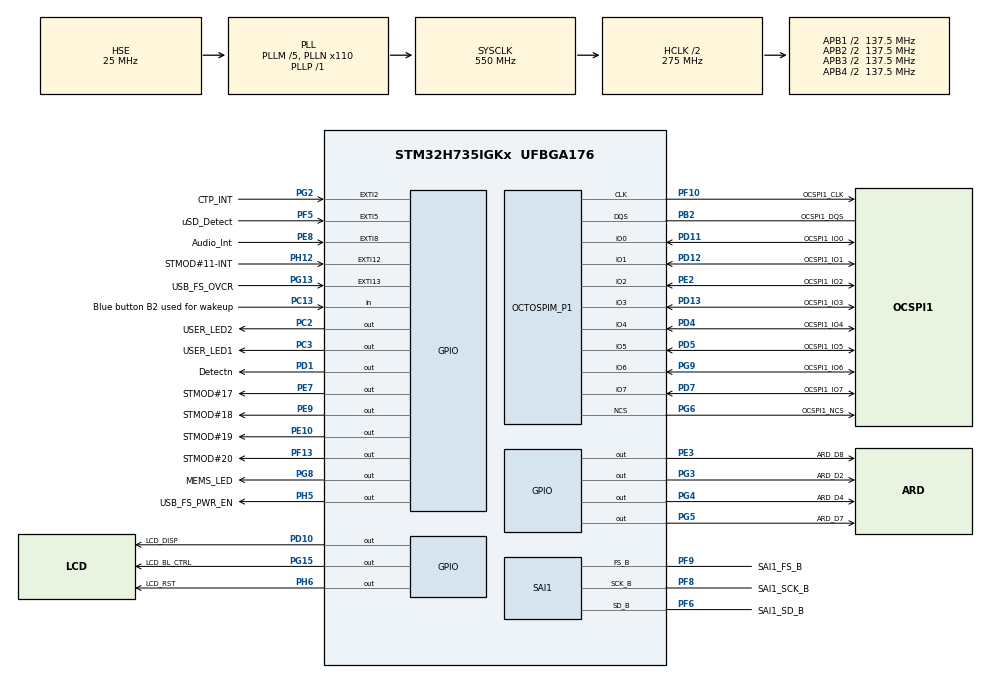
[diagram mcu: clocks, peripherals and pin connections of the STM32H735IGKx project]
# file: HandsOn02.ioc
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CORTEX_M7.AccessPermission-Cortex_Memory_Protection_Unit_Region0_Settings=MPU_REGION_FULL_ACCESS
CORTEX_M7.BaseAddress-Cortex_Memory_Protection_Unit_Region0_Settings=0x24000000
CORTEX_M7.CPU_DCache=Enabled
CORTEX_M7.CPU_ICache=Enabled
CORTEX_M7.Enable-Cortex_Memory_Protection_Unit_Region0_Settings=MPU_REGION_ENABLE
CORTEX_M7.MPU_Control=MPU_PRIVILEGED_DEFAULT
CORTEX_M7.Size-Cortex_Memory_Protection_Unit_Region0_Settings=MPU_REGION_SIZE_32KB
CORTEX_M7.TypeExtField-Cortex_Memory_Protection_Unit_Region0_Settings=MPU_TEX_LEVEL1
Mcu.Family=STM32H7
Mcu.Name=STM32H735IGKx
Mcu.Package=UFBGA176
NVIC.PriorityGroup=NVIC_PRIORITYGROUP_4
PA0.GPIO_Label=ARD_D3
PA0.Signal=S_TIM5_CH1
PA0_C.GPIO_Label=ARD_A2
PA0_C.Signal=ADCx_INP0
PA1.GPIO_Label=RMII_REF_CLK
PA1.GPIO_Speed=GPIO_SPEED_FREQ_LOW
PA1.Signal=ETH_REF_CLK
PA10.GPIO_Label=USB_FS_ID
PA10.Signal=USB_OTG_HS_ID
PA11.GPIO_Label=USB_FS_DM
PA11.Signal=USB_OTG_HS_DM
PA12.GPIO_Label=USB_FS_DP
PA12.Signal=USB_OTG_HS_DP
PA13(JTMS/SWDIO).GPIO_Label=JTMS
PA13(JTMS/SWDIO).Signal=DEBUG_JTMS-SWDIO
PA14(JTCK/SWCLK).GPIO_Label=JTCK
PA14(JTCK/SWCLK).Signal=DEBUG_JTCK-SWCLK
PA15(JTDI).GPIO_Label=JTDI
PA15(JTDI).Signal=DEBUG_JTDI
PA1_C.GPIO_Label=ARD_A3
PA1_C.Signal=ADCx_INP1
PA2.GPIO_Label=RMII_MDIO
PA2.GPIO_Speed=GPIO_SPEED_FREQ_LOW
PA2.Signal=ETH_MDIO
PA3.GPIO_Label=LCD_B5
PA3.GPIO_Speed=GPIO_SPEED_FREQ_LOW
PA3.Signal=LTDC_B5
PA4.GPIO_Label=LCD_VSYNC
PA4.GPIO_Speed=GPIO_SPEED_FREQ_LOW
PA4.Signal=LTDC_VSYNC
PA5.GPIO_Label=DAC1_OUT2
PA5.Signal=COMP_DAC12_group
PA6.GPIO_Label=LCD_G2
PA6.GPIO_Speed=GPIO_SPEED_FREQ_LOW
PA6.Signal=LTDC_G2
PA7.GPIO_Label=RMII_CRS_DV
PA7.GPIO_Speed=GPIO_SPEED_FREQ_LOW
PA7.Signal=ETH_CRS_DV
PA8.GPIO_Label=LCD_B3
PA8.GPIO_Speed=GPIO_SPEED_FREQ_LOW
PA8.Signal=LTDC_B3
PA9.GPIO_Label=USB_FS_VBUS
PA9.Signal=USB_OTG_HS_VBUS
PB0.GPIO_Label=LCD_G1
PB0.GPIO_Speed=GPIO_SPEED_FREQ_LOW
PB0.Signal=LTDC_G1
PB1.GPIO_Label=LCD_G0
PB1.GPIO_Speed=GPIO_SPEED_FREQ_LOW
PB1.Signal=LTDC_G0
PB10.GPIO_Label=RMII_RX_ER
PB10.Signal=ETH_RX_ER
PB11.GPIO_Label=RMII_TX_EN
PB11.GPIO_Speed=GPIO_SPEED_FREQ_LOW
PB11.Signal=ETH_TX_EN
PB12.GPIO_Label=RMII_TXD0
PB12.GPIO_Speed=GPIO_SPEED_FREQ_LOW
PB12.Signal=ETH_TXD0
PB13.GPIO_Label=RMII_TXD1
PB13.GPIO_Speed=GPIO_SPEED_FREQ_LOW
PB13.Signal=ETH_TXD1
PB14.GPIO_Label=ARD_D1
PB14.GPIO_PuPd=GPIO_NOPULL
PB14.Signal=USART1_TX
PB15.GPIO_Label=ARD_D0
PB15.GPIO_PuPd=GPIO_NOPULL
PB15.Signal=USART1_RX
PB2.GPIO_Label=OCSPI1_DQS
PB2.Mode=OCTOSPI1_Port1_DQS
PB2.Signal=OCTOSPIM_P1_DQS
PB3(JTDO/TRACESWO).GPIO_Label=JTDO
PB3(JTDO/TRACESWO).Signal=DEBUG_JTDO-SWO
PB4(NJTRST).GPIO_Label=NJTRST
PB4(NJTRST).Signal=DEBUG_JTRST
PB5.GPIO_Label=FDCAN2_RX
PB5.Signal=FDCAN2_RX
PB6.GPIO_Label=FDCAN2_TX
PB6.Signal=FDCAN2_TX
PB7.GPIO_Label=ARD_D9
PB7.Signal=S_TIM4_CH2
PB8.GPIO_Label=LCD_B6
PB8.GPIO_Speed=GPIO_SPEED_FREQ_LOW
PB8.Signal=LTDC_B6
PB9.GPIO_Label=LCD_B7
PB9.GPIO_Speed=GPIO_SPEED_FREQ_LOW
PB9.Signal=LTDC_B7
PC0.GPIO_Label=ARD_A0
PC0.Signal=ADCx_INP10
PC1.GPIO_Label=RMII_MDC
PC1.GPIO_Speed=GPIO_SPEED_FREQ_LOW
PC1.Signal=ETH_MDC
PC10.GPIO_Label=SDIO1_D2
PC10.Signal=SDMMC1_D2
PC11.GPIO_Label=SDIO1_D3
PC11.Signal=SDMMC1_D3
PC12.GPIO_Label=SDIO1_CK
PC12.Signal=SDMMC1_CK
PC13.GPIO_Label=Blue button B2 used for wakeup
PC13.Signal=GPIO_Input
PC2.GPIO_Label=USER_LED2
PC2.Signal=GPIO_Output
PC2_C.GPIO_Label=ARD_A4
PC2_C.Signal=ADC3_INP0
PC3.GPIO_Label=USER_LED1
PC3.Signal=GPIO_Output
PC3_C.GPIO_Label=ARD_A5
PC3_C.Signal=ADC3_INP1
PC4.GPIO_Label=RMII_RXD0
PC4.GPIO_Speed=GPIO_SPEED_FREQ_LOW
PC4.Signal=ETH_RXD0
PC5.GPIO_Label=RMII_RXD1
PC5.GPIO_Speed=GPIO_SPEED_FREQ_LOW
PC5.Signal=ETH_RXD1
PC6.GPIO_Label=LCD_HSYNC
PC6.GPIO_Speed=GPIO_SPEED_FREQ_LOW
PC6.Signal=LTDC_HSYNC
PC7.GPIO_Label=LCD_G6
PC7.GPIO_Speed=GPIO_SPEED_FREQ_LOW
PC7.Signal=LTDC_G6
PC8.GPIO_Label=SDIO1_D0
PC8.Signal=SDMMC1_D0
PC9.GPIO_Label=SDIO1_D1
PC9.Signal=SDMMC1_D1
PD0.GPIO_Label=LCD_B1
PD0.GPIO_Speed=GPIO_SPEED_FREQ_LOW
PD0.Signal=LTDC_B1
PD1.GPIO_Label=Detectn
PD1.GPIO_PuPd=GPIO_NOPULL
PD1.Signal=GPIO_Output
PD10.GPIO_Label=LCD_DISP
PD10.GPIO_Speed=GPIO_SPEED_FREQ_LOW
PD10.Signal=GPIO_Output
PD11.GPIO_Label=OCSPI1_IO0
PD11.Mode=OCTOSPI1_IOL_Port1L
PD11.Signal=OCTOSPIM_P1_IO0
PD12.GPIO_Label=OCSPI1_IO1
PD12.Mode=OCTOSPI1_IOL_Port1L
PD12.Signal=OCTOSPIM_P1_IO1
PD13.GPIO_Label=OCSPI1_IO3
PD13.Mode=OCTOSPI1_IOL_Port1L
PD13.Signal=OCTOSPIM_P1_IO3
PD14.GPIO_Label=STMOD\#14-PWM
PD14.Signal=S_TIM4_CH3
PD15.GPIO_Label=ARD_D6
PD15.Signal=S_TIM4_CH4
PD2.GPIO_Label=SDIO1_CMD
PD2.Signal=SDMMC1_CMD
PD3.GPIO_Label=LCD_G7
PD3.GPIO_Speed=GPIO_SPEED_FREQ_LOW
PD3.Signal=LTDC_G7
PD4.GPIO_Label=OCSPI1_IO4
PD4.Mode=OCTOSPI1_IOH_Port1H
PD4.Signal=OCTOSPIM_P1_IO4
PD5.GPIO_Label=OCSPI1_IO5
PD5.Mode=OCTOSPI1_IOH_Port1H
PD5.Signal=OCTOSPIM_P1_IO5
PD6.GPIO_Label=LCD_B2
PD6.GPIO_Speed=GPIO_SPEED_FREQ_LOW
PD6.Signal=LTDC_B2
PD7.GPIO_Label=OCSPI1_IO7
PD7.Mode=OCTOSPI1_IOH_Port1H
PD7.Signal=OCTOSPIM_P1_IO7
PD8.GPIO_Label=T_VCP_TX
PD8.GPIO_PuPd=GPIO_NOPULL
PD8.Signal=USART3_TX
PD9.GPIO_Label=T_VCP_RX
PD9.GPIO_PuPd=GPIO_NOPULL
PD9.Signal=USART3_RX
PE0.GPIO_Label=LCD_R0
PE0.GPIO_Speed=GPIO_SPEED_FREQ_LOW
PE0.Signal=LTDC_R0
PE1.GPIO_Label=LCD_R6
PE1.GPIO_Speed=GPIO_SPEED_FREQ_LOW
PE1.Signal=LTDC_R6
PE10.GPIO_Label=STMOD\#19
PE10.Signal=GPIO_Output
PE11.GPIO_Label=LCD_G3
PE11.GPIO_Speed=GPIO_SPEED_FREQ_LOW
PE11.Signal=LTDC_G3
PE12.GPIO_Label=LCD_B4
PE12.GPIO_Speed=GPIO_SPEED_FREQ_LOW
PE12.Signal=LTDC_B4
PE13.GPIO_Label=LCD_DE
PE13.GPIO_Speed=GPIO_SPEED_FREQ_LOW
PE13.Signal=LTDC_DE
PE14.GPIO_Label=ARD_D5
PE14.Signal=S_TIM1_CH4
PE15.GPIO_Label=LCD_R7
PE15.GPIO_Speed=GPIO_SPEED_FREQ_LOW
PE15.Signal=LTDC_R7
PE2.GPIO_Label=OCSPI1_IO2
PE2.Mode=OCTOSPI1_IOL_Port1L
PE2.Signal=OCTOSPIM_P1_IO2
PE3.GPIO_Label=ARD_D8
PE3.Signal=GPIO_Output
PE4.GPIO_Label=SAI4_D2
PE4.Signal=SAI4_D2
PE5.GPIO_Label=SAI4_CK2
PE5.Signal=SAI4_CK2
PE6.GPIO_Label=SAI1_SD_A
PE6.Signal=SAI1_SD_A
PE7.GPIO_Label=STMOD\#17
PE7.Signal=GPIO_Output
PE8.GPIO_Label=Audio_Int
PE8.Signal=GPXTI8
PE9.GPIO_Label=STMOD\#18
PE9.Signal=GPIO_Output
PF0.GPIO_Label=OCSPI2_IO0
PF0.Signal=OCTOSPIM_P2_IO0
PF1.GPIO_Label=OCSPI2_IO1
PF1.Signal=OCTOSPIM_P2_IO1
PF10.GPIO_Label=OCSPI1_CLK
PF10.Mode=O1_P1_CLK
PF10.Signal=OCTOSPIM_P1_CLK
PF11.GPIO_Label=SPI5_MOSI
PF11.Signal=SPI5_MOSI
PF12.GPIO_Label=OCSPI2_DQS
PF12.Signal=OCTOSPIM_P2_DQS
PF13.GPIO_Label=STMOD\#20
PF13.Signal=GPIO_Output
PF14.GPIO_Label=I2C4_SCL
PF14.Signal=I2C4_SCL
PF15.GPIO_Label=I2C4_SDA
PF15.Signal=I2C4_SDA
PF2.GPIO_Label=OCSPI2_IO2
PF2.Signal=OCTOSPIM_P2_IO2
PF3.GPIO_Label=OCSPI2_IO3
PF3.Signal=OCTOSPIM_P2_IO3
PF4.GPIO_Label=OCSPI2_CLK
PF4.Signal=OCTOSPIM_P2_CLK
PF5.GPIO_Label=uSD_Detect
PF5.Signal=GPXTI5
PF6.GPIO_Label=SAI1_SD_B
PF6.GPIO_Speed=GPIO_SPEED_FREQ_VERY_HIGH
PF6.Mode=SAI_B_Master
PF6.Signal=SAI1_SD_B
PF7.GPIO_Label=SAI1_MCLK_B
PF7.Signal=SAI1_MCLK_B
PF8.GPIO_Label=SAI1_SCK_B
PF8.GPIO_Speed=GPIO_SPEED_FREQ_VERY_HIGH
PF8.Mode=SAI_B_Master
PF8.Signal=SAI1_SCK_B
PF9.GPIO_Label=SAI1_FS_B
PF9.GPIO_Speed=GPIO_SPEED_FREQ_VERY_HIGH
PF9.Mode=SAI_B_Master
PF9.Signal=SAI1_FS_B
PG0.GPIO_Label=OCSPI2_IO4
PG0.Signal=OCTOSPIM_P2_IO4
PG1.GPIO_Label=OCSPI2_IO5
PG1.Signal=OCTOSPIM_P2_IO5
PG10.GPIO_Label=OCSPI2_IO6
PG10.Signal=OCTOSPIM_P2_IO6
PG11.GPIO_Label=OCSPI2_IO7
PG11.Signal=OCTOSPIM_P2_IO7
PG12.GPIO_Label=OCSPI2_NCS
PG12.Signal=OCTOSPIM_P2_NCS
PG13.GPIO_Label=USB_FS_OVCR
PG13.Signal=GPXTI13
PG14.GPIO_Label=LCD_B0
PG14.GPIO_Speed=GPIO_SPEED_FREQ_LOW
PG14.Signal=LTDC_B0
PG15.GPIO_Label=LCD_BL_CTRL
PG15.GPIO_Speed=GPIO_SPEED_FREQ_LOW
PG15.Signal=GPIO_Output
PG2.GPIO_Label=CTP_INT
PG2.Signal=GPXTI2
PG3.GPIO_Label=ARD_D2
PG3.Signal=GPIO_Output
PG4.GPIO_Label=ARD_D4
PG4.Signal=GPIO_Output
PG5.GPIO_Label=ARD_D7
PG5.Signal=GPIO_Output
PG6.GPIO_Label=OCSPI1_NCS
PG6.Mode=OCTOSPI1_Port1_NCS
PG6.Signal=OCTOSPIM_P1_NCS
PG7.GPIO_Label=LCD_CLK
PG7.GPIO_Speed=GPIO_SPEED_FREQ_LOW
PG7.Signal=LTDC_CLK
PG8.GPIO_Label=MEMS_LED
PG8.Signal=GPIO_Output
PG9.GPIO_Label=OCSPI1_IO6
PG9.Mode=OCTOSPI1_IOH_Port1H
PG9.Signal=OCTOSPIM_P1_IO6
PH0-OSC_IN.Mode=HSE-External-Clock-Source
PH0-OSC_IN.Signal=RCC_OSC_IN
PH10.GPIO_Label=LCD_R4
PH10.GPIO_Speed=GPIO_SPEED_FREQ_LOW
PH10.Signal=LTDC_R4
PH11.GPIO_Label=LCD_R5
PH11.GPIO_Speed=GPIO_SPEED_FREQ_LOW
PH11.Signal=LTDC_R5
PH12.GPIO_Label=STMOD\#11-INT
PH12.Signal=GPXTI12
PH13.GPIO_Label=FDCAN1_TX
PH13.Signal=FDCAN1_TX
PH14.GPIO_Label=FDCAN1_RX
PH14.Signal=FDCAN1_RX
PH15.GPIO_Label=LCD_G4
PH15.GPIO_Speed=GPIO_SPEED_FREQ_LOW
PH15.Signal=LTDC_G4
PH2.GPIO_Label=ARD_A1
PH2.Signal=ADC3_INP13
PH3.GPIO_Label=LCD_R1
PH3.GPIO_Speed=GPIO_SPEED_FREQ_LOW
PH3.Signal=LTDC_R1
PH4.GPIO_Label=LCD_G5
PH4.GPIO_Speed=GPIO_SPEED_FREQ_LOW
PH4.Signal=LTDC_G5
PH5.GPIO_Label=USB_FS_PWR_EN
PH5.Signal=GPIO_Output
PH6.GPIO_Label=LCD_RST
PH6.GPIO_Speed=GPIO_SPEED_FREQ_LOW
PH6.PinState=GPIO_PIN_SET
PH6.Signal=GPIO_Output
PH7.GPIO_Label=SPI5_MISO
PH7.Signal=SPI5_MISO
PH8.GPIO_Label=LCD_R2
PH8.GPIO_Speed=GPIO_SPEED_FREQ_LOW
PH8.Signal=LTDC_R2
PH9.GPIO_Label=LCD_R3
PH9.GPIO_Speed=GPIO_SPEED_FREQ_LOW
PH9.Signal=LTDC_R3
ProjectManager.HeapSize=0x200
ProjectManager.StackSize=0x400
ProjectManager.TargetToolchain=STM32CubeIDE
RCC.ADCFreq_Value=80000000
RCC.APB1Freq_Value=137500000
RCC.APB2Freq_Value=137500000
RCC.APB3Freq_Value=137500000
RCC.APB4Freq_Value=137500000
RCC.CortexFreq_Value=550000000
RCC.D1PPRE=RCC_APB3_DIV2
RCC.D2PPRE1=RCC_APB1_DIV2
RCC.D2PPRE2=RCC_APB2_DIV2
RCC.D3PPRE=RCC_APB4_DIV2
RCC.DIVM1=5
RCC.DIVM2=5
RCC.DIVN1=110
RCC.DIVN2=80
RCC.DIVP1=1
RCC.DIVP2=5
RCC.DIVQ1=4
RCC.HCLKFreq_Value=275000000
RCC.HPRE=RCC_HCLK_DIV2
RCC.PLL2FRACN=0
RCC.PLL3FRACN=0
RCC.PLLFRACN=0
RCC.PLLSourceVirtual=RCC_PLLSOURCE_HSE
RCC.SYSCLKFreq_VALUE=550000000
RCC.SYSCLKSource=RCC_SYSCLKSOURCE_PLLCLK
RCC.SupplySource=PWR_DIRECT_SMPS_SUPPLY
RCC.USBCLockSelection=RCC_USBCLKSOURCE_HSI48
RCC.USBFreq_Value=48000000
SAI1.ErrorAudioFreq-SAI_B_Master=39.87 %
SAI1.Instance-SAI_B_Master=SAI$Index_Block_B
SAI1.MckOutput-SAI_B_Master=SAI_MCK_OUTPUT_DISABLE
SAI1.RealAudioFreq-SAI_B_Master=268.554 KHz
SAI1.VirtualMode-SAI_B_Master=VM_MASTER
SH.ADCx_INP0.0=ADC1_INP0
SH.ADCx_INP0.1=ADC2_INP0
SH.ADCx_INP1.0=ADC2_INP1
SH.ADCx_INP1.1=ADC1_INP1
SH.ADCx_INP10.0=ADC1_INP10
SH.COMP_DAC12_group.0=DAC1_OUT2
SH.S_TIM1_CH4.0=TIM1_CH4
SH.S_TIM4_CH2.0=TIM4_CH2
SH.S_TIM4_CH3.0=TIM4_CH3
SH.S_TIM4_CH4.0=TIM4_CH4
SH.S_TIM5_CH1.0=TIM5_CH1
VP_DMA2D_VS_DMA2D.Mode=DMA2D_Activate
VP_OCTOSPI1_VS_octo.Mode=octo_mode
board=STM32H735G-DK

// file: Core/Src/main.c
/* USER CODE BEGIN Header */
/**
  ******************************************************************************
  * @file           : main.c
  * @brief          : Main program body
  ******************************************************************************
  * @attention
  *
  * <h2><center>&copy; Copyright (c) 2020 STMicroelectronics.
  * All rights reserved.</center></h2>
  *
  * This software component is licensed by ST under BSD 3-Clause license,
  * the "License"; You may not use this file except in compliance with the
  * License. You may obtain a copy of the License at:
  *                        opensource.org/licenses/BSD-3-Clause
  *
  ******************************************************************************
  */
/* USER CODE END Header */
#include "main.h"
#include "dma2d.h"
#include "octospi.h"
#include "sai.h"
#include "gpio.h"

/* USER CODE BEGIN Includes */
#include <stdio.h>
#include <string.h>
#include "benchmark.h"
#include "stm32h735g_discovery_ospi.h"
#include "stm32h735g_discovery_lcd.h"
#include "audio.h"
#include "test_image.h"
/* USER CODE END Includes */

/* USER CODE BEGIN PD */
#define	H7DEMO_OFF	0
#define	H7DEMO_ON	1
/* USER CODE END PD */

/* USER CODE BEGIN PV */

typedef struct {
	// Commands
	uint8_t Cmd_Cache;
	uint8_t Cmd_Audio;
	uint8_t Cmd_LCD;

	// Status
	uint8_t Status_Cache;
	uint8_t Status_Audio;
	uint8_t Status_LCD;

	// H7Demo values
	uint16_t PerfValue;
	uint16_t NbFuncCalls;
}H7Demo_t;

__attribute__((section(".H7Demo")))
volatile H7Demo_t H7Demo;

/* USER CODE END PV */

void SystemClock_Config(void);
static void MPU_Config(void);

/* USER CODE BEGIN 0 */
void mainloop_measure(void){
	volatile uint32_t var = 1;
	uint32_t func_calls = H7Demo.NbFuncCalls;
	uint32_t start,end;
	uint32_t temp_results = 0;

	if(func_calls > FUNC_NUM) func_calls = FUNC_NUM;

	SCB_InvalidateICache();

	__disable_irq();
	for(int m = 0; m < 11; ++m){
		start = DWT->CYCCNT;
		for(int i = func_calls-1; i >= 0;--i){
			var = func_array[i](var);
		}
		end = DWT->CYCCNT;
		if(m != 0){ /* Skip first result */
			temp_results += (end - start);
		}
	}
	temp_results /= (func_calls);

	__enable_irq();

	H7Demo.PerfValue = temp_results;
}

/*
 * Following is a workaround for well known issue in CMSIS
 * https://github.com/ARM-software/CMSIS_5/issues/620
 * Unfortunately there is no plan to fix this issue, so we will
 * use simple workaround by using global variables (DCacheWorkaround)
 * which are placed to non-cacheable region
 */

typedef struct  {
	uint32_t ccsidr;
	uint32_t sets;
	uint32_t ways;
}DCacheWorkaround_t;

__attribute__((section(".data_NC")))
DCacheWorkaround_t DCacheWorkaround;

__STATIC_INLINE void SCB_DisableDCache_fixed (void)
{
  #if defined (__DCACHE_PRESENT) && (__DCACHE_PRESENT == 1U)

    SCB->CSSELR = 0U; /*(0U << 1U) | 0U;*/  /* Level 1 data cache */
    __DSB();

    SCB->CCR &= ~(uint32_t)SCB_CCR_DC_Msk;  /* disable D-Cache */
    __DSB();

    DCacheWorkaround.ccsidr = SCB->CCSIDR;

                                            /* clean & invalidate D-Cache */
    DCacheWorkaround.sets = (uint32_t)(CCSIDR_SETS(DCacheWorkaround.ccsidr));
    do {
      DCacheWorkaround.ways = (uint32_t)(CCSIDR_WAYS(DCacheWorkaround.ccsidr));
      do {
        SCB->DCCISW = (((DCacheWorkaround.sets << SCB_DCCISW_SET_Pos) & SCB_DCCISW_SET_Msk) |
                       ((DCacheWorkaround.ways << SCB_DCCISW_WAY_Pos) & SCB_DCCISW_WAY_Msk)  );
        #if defined ( __CC_ARM )
          __schedule_barrier();
        #endif
      } while (DCacheWorkaround.ways-- != 0U);
    } while(DCacheWorkaround.sets-- != 0U);

    __DSB();
    __ISB();
  #endif
}
/* USER CODE END 0 */

int main(void)
{
  /* USER CODE BEGIN 1 */
  memset((void*)&H7Demo, 0, sizeof(H7Demo_t));
  H7Demo.NbFuncCalls = 512;

  BSP_LCD_LayerConfig_t BSP_Layer_Init;
  /* USER CODE END 1 */

  /* MPU Configuration--------------------------------------------------------*/
  MPU_Config();

  /* Enable I-Cache---------------------------------------------------------*/
  SCB_EnableICache();

  /* Enable D-Cache---------------------------------------------------------*/
  SCB_EnableDCache();

  /* MCU Configuration--------------------------------------------------------*/

  /* Reset of all peripherals, Initializes the Flash interface and the Systick. */
  HAL_Init();

  /* Configure the system clock */
  SystemClock_Config();

  /* Initialize all configured peripherals */
  MX_GPIO_Init();
  MX_DMA2D_Init();
  /* USER CODE BEGIN 2 */
  SCB_DisableICache();
  BSP_Layer_Init.Address = (uint32_t)&gimp_image.pixel_data;
  BSP_Layer_Init.PixelFormat = LTDC_PIXEL_FORMAT_RGB888;
  BSP_Layer_Init.X0 = 0;
  BSP_Layer_Init.Y0 = 0;
  BSP_Layer_Init.X1 = LCD_DEFAULT_WIDTH;
  BSP_Layer_Init.Y1 = LCD_DEFAULT_HEIGHT;
  BSP_LCD_Init(0, LCD_ORIENTATION_LANDSCAPE);
  BSP_LCD_ConfigLayer(0, 0, &BSP_Layer_Init);

  BSP_LCD_SetLayerVisible(0, 0, DISABLE);
  BSP_LCD_Relaod(0, BSP_LCD_RELOAD_IMMEDIATE);

  CoreDebug->DEMCR |= CoreDebug_DEMCR_TRCENA_Msk;
  DWT->CYCCNT = 0;
  DWT->CTRL |= DWT_CTRL_CYCCNTENA_Msk;

  Audio_Init();
  /* USER CODE END 2 */

  /* Infinite loop */
  while (1)
  {

    /* USER CODE BEGIN 3 */
	  mainloop_measure();

	  if(H7Demo.Status_Cache != H7Demo.Cmd_Cache){
		  if (H7DEMO_ON == H7Demo.Cmd_Cache){
			  SCB_EnableICache();
			  H7Demo.Status_Cache = H7DEMO_ON;
			  HAL_GPIO_WritePin(USER_LED1_GPIO_Port, USER_LED1_Pin, GPIO_PIN_SET);
		  }
		  else {
			  SCB_DisableICache();
			  H7Demo.Status_Cache = H7DEMO_OFF;
			  HAL_GPIO_WritePin(USER_LED1_GPIO_Port, USER_LED1_Pin, GPIO_PIN_RESET);
		  }
	  }

	  if(H7Demo.Status_Audio != H7Demo.Cmd_Audio){
		  if(H7DEMO_ON == H7Demo.Cmd_Audio){
			  Audio_Play();
			  H7Demo.Status_Audio = H7DEMO_ON;
		  }
		  else {
			  Audio_Stop();
			  H7Demo.Status_Audio = H7DEMO_OFF;
		  }
	  }

	  if(H7Demo.Status_LCD != H7Demo.Cmd_LCD){
		  if(H7DEMO_ON == H7Demo.Cmd_LCD){
			  BSP_LCD_SetLayerVisible(0, 0, ENABLE);
			  H7Demo.Status_LCD = H7DEMO_ON;
		  }
		  else {
			  BSP_LCD_SetLayerVisible(0, 0, DISABLE);
			  H7Demo.Status_LCD = H7DEMO_OFF;
		  }
		  BSP_LCD_Relaod(0, BSP_LCD_RELOAD_IMMEDIATE);
	  }
  }
  /* USER CODE END 3 */
}

void SystemClock_Config(void)
{
  RCC_OscInitTypeDef RCC_OscInitStruct = {0};
  RCC_ClkInitTypeDef RCC_ClkInitStruct = {0};
  RCC_PeriphCLKInitTypeDef PeriphClkInitStruct = {0};

  /** Supply configuration update enable
  */
  HAL_PWREx_ConfigSupply(PWR_DIRECT_SMPS_SUPPLY);
  /** Configure the main internal regulator output voltage
  */
  __HAL_PWR_VOLTAGESCALING_CONFIG(PWR_REGULATOR_VOLTAGE_SCALE0);

  while(!__HAL_PWR_GET_FLAG(PWR_FLAG_VOSRDY)) {}
  /** Initializes the RCC Oscillators according to the specified parameters
  * in the RCC_OscInitTypeDef structure.
  */
  RCC_OscInitStruct.OscillatorType = RCC_OSCILLATORTYPE_HSE;
  RCC_OscInitStruct.HSEState = RCC_HSE_BYPASS;
  RCC_OscInitStruct.PLL.PLLState = RCC_PLL_ON;
  RCC_OscInitStruct.PLL.PLLSource = RCC_PLLSOURCE_HSE;
  RCC_OscInitStruct.PLL.PLLM = 5;
  RCC_OscInitStruct.PLL.PLLN = 110;
  RCC_OscInitStruct.PLL.PLLP = 1;
  RCC_OscInitStruct.PLL.PLLQ = 4;
  RCC_OscInitStruct.PLL.PLLR = 2;
  RCC_OscInitStruct.PLL.PLLRGE = RCC_PLL1VCIRANGE_2;
  RCC_OscInitStruct.PLL.PLLVCOSEL = RCC_PLL1VCOWIDE;
  RCC_OscInitStruct.PLL.PLLFRACN = 0;
  if (HAL_RCC_OscConfig(&RCC_OscInitStruct) != HAL_OK)
  {
    Error_Handler();
  }
  /** Initializes the CPU, AHB and APB buses clocks
  */
  RCC_ClkInitStruct.ClockType = RCC_CLOCKTYPE_HCLK|RCC_CLOCKTYPE_SYSCLK
                              |RCC_CLOCKTYPE_PCLK1|RCC_CLOCKTYPE_PCLK2
                              |RCC_CLOCKTYPE_D3PCLK1|RCC_CLOCKTYPE_D1PCLK1;
  RCC_ClkInitStruct.SYSCLKSource = RCC_SYSCLKSOURCE_PLLCLK;
  RCC_ClkInitStruct.SYSCLKDivider = RCC_SYSCLK_DIV1;
  RCC_ClkInitStruct.AHBCLKDivider = RCC_HCLK_DIV2;
  RCC_ClkInitStruct.APB3CLKDivider = RCC_APB3_DIV2;
  RCC_ClkInitStruct.APB1CLKDivider = RCC_APB1_DIV2;
  RCC_ClkInitStruct.APB2CLKDivider = RCC_APB2_DIV2;
  RCC_ClkInitStruct.APB4CLKDivider = RCC_APB4_DIV2;

  if (HAL_RCC_ClockConfig(&RCC_ClkInitStruct, FLASH_LATENCY_3) != HAL_OK)
  {
    Error_Handler();
  }
  PeriphClkInitStruct.PeriphClockSelection = RCC_PERIPHCLK_SAI1|RCC_PERIPHCLK_OSPI;
  PeriphClkInitStruct.OspiClockSelection = RCC_OSPICLKSOURCE_D1HCLK;
  PeriphClkInitStruct.Sai1ClockSelection = RCC_SAI1CLKSOURCE_PLL;
  if (HAL_RCCEx_PeriphCLKConfig(&PeriphClkInitStruct) != HAL_OK)
  {
    Error_Handler();
  }
}

/* MPU Configuration */

void MPU_Config(void)
{
  MPU_Region_InitTypeDef MPU_InitStruct = {0};

  /* Disables the MPU */
  HAL_MPU_Disable();
  /** Initializes and configures the Region and the memory to be protected
  */
  MPU_InitStruct.Enable = MPU_REGION_ENABLE;
  MPU_InitStruct.Number = MPU_REGION_NUMBER0;
  MPU_InitStruct.BaseAddress = 0x24000000;
  MPU_InitStruct.Size = MPU_REGION_SIZE_32KB;
  MPU_InitStruct.SubRegionDisable = 0x0;
  MPU_InitStruct.TypeExtField = MPU_TEX_LEVEL1;
  MPU_InitStruct.AccessPermission = MPU_REGION_FULL_ACCESS;
  MPU_InitStruct.DisableExec = MPU_INSTRUCTION_ACCESS_ENABLE;
  MPU_InitStruct.IsShareable = MPU_ACCESS_NOT_SHAREABLE;
  MPU_InitStruct.IsCacheable = MPU_ACCESS_NOT_CACHEABLE;
  MPU_InitStruct.IsBufferable = MPU_ACCESS_NOT_BUFFERABLE;

  HAL_MPU_ConfigRegion(&MPU_InitStruct);
  /* Enables the MPU */
  HAL_MPU_Enable(MPU_PRIVILEGED_DEFAULT);

}

void Error_Handler(void)
{
}

/************************ (C) COPYRIGHT STMicroelectronics *****END OF FILE****/
